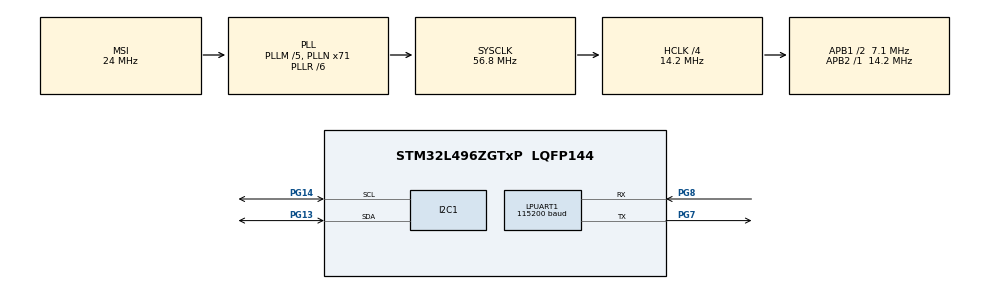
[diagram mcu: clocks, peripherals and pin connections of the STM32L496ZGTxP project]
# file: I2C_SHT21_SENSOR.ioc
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I2C1.Timing=0x00101A26
LPUART1.BaudRate=115200
LPUART1.WordLength=UART_WORDLENGTH_8B
Mcu.Family=STM32L4
Mcu.Name=STM32L496ZGTxP
Mcu.Package=LQFP144
NVIC.PriorityGroup=NVIC_PRIORITYGROUP_4
PG13.Mode=I2C
PG13.Signal=I2C1_SDA
PG14.Mode=I2C
PG14.Signal=I2C1_SCL
PG7.Mode=Asynchronous
PG7.Signal=LPUART1_TX
PG8.Mode=Asynchronous
PG8.Signal=LPUART1_RX
ProjectManager.HeapSize=0x200
ProjectManager.StackSize=0x400
ProjectManager.TargetToolchain=STM32CubeIDE
RCC.48MHZClocksFreq_Value=24000000
RCC.ADCFreq_Value=48000000
RCC.AHBCLKDivider=RCC_SYSCLK_DIV4
RCC.AHBFreq_Value=14200000
RCC.APB1CLKDivider=RCC_HCLK_DIV2
RCC.APB1Freq_Value=7100000
RCC.APB1TimFreq_Value=14200000
RCC.APB2Freq_Value=14200000
RCC.APB2TimFreq_Value=14200000
RCC.CortexFreq_Value=14200000
RCC.HCLKFreq_Value=14200000
RCC.HSE_VALUE=8000000
RCC.HSI48_VALUE=48000000
RCC.HSI_VALUE=16000000
RCC.MSIClockRange=RCC_MSIRANGE_9
RCC.MSI_VALUE=24000000
RCC.PLLM=5
RCC.PLLMUL=RCC_PLL_MUL9
RCC.PLLN=71
RCC.PLLR=RCC_PLLR_DIV6
RCC.PLLSAI1N=20
RCC.PRESCALERUSB=RCC_USBCLKSOURCE_PLL_DIV1_5
RCC.SYSCLKFreq_VALUE=56800000
RCC.SYSCLKSource=RCC_SYSCLKSOURCE_PLLCLK
RCC.SYSCLKSourceVirtual=RCC_SYSCLKSOURCE_PLLCLK
RCC.USBFreq_Value=48000000
RCC.VCOOutputFreq_Value=340800000
board=NUCLEO-L496ZG-P

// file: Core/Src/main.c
/* USER CODE BEGIN Header */
/**
  ******************************************************************************
  * @file           : main.c
  * @brief          : Main program body
  ******************************************************************************
  * @attention
  *
  * Copyright (c) 2023 STMicroelectronics.
  * All rights reserved.
  *
  * This software is licensed under terms that can be found in the LICENSE file
  * in the root directory of this software component.
  * If no LICENSE file comes with this software, it is provided AS-IS.
  *
  ******************************************************************************
  */
/* USER CODE END Header */
#include "main.h"

/* USER CODE BEGIN Includes */
#include<string.h>
#include "sht21_driver.h"
#include<stdio.h>
#include"stdio.h"
/* USER CODE END Includes */

I2C_HandleTypeDef hi2c1;

UART_HandleTypeDef hlpuart1;

/* USER CODE BEGIN PV */
uint8_t Buffer[25] = {0};
uint8_t Space[] = "-";
uint8_t StartMSG[] = "StartingI2C Scanning: \r\n";
uint8_t EndMSG[] = "Done! \r\n\r\n";
uint8_t i = 0, ret;
SHT21_t sht21_d;
/* USER CODE END PV */

void SystemClock_Config(void);
static void MX_GPIO_Init(void);
static void MX_LPUART1_UART_Init(void);
static void MX_I2C1_Init(void);

/* USER CODE BEGIN PFP */
//SHT2x_CalcTemp(&sht21_d)
void i2c_scanner(I2C_HandleTypeDef *i2c);
/* USER CODE END PFP */

int main(void)
{

  /* MCU Configuration--------------------------------------------------------*/

  /* Reset of all peripherals, Initializes the Flash interface and the Systick. */

	HAL_Init();

  /* Configure the system clock */
  SystemClock_Config();

  /* Initialize all configured peripherals */
  MX_GPIO_Init();
  MX_LPUART1_UART_Init();
  MX_I2C1_Init();
  /* USER CODE BEGIN 2 */
  i2c_scanner(&hi2c1);//call
  SHT2x_peripheral_config();
  uint8_t check = SHT2x_init(DISABLE_OTP | RH_12_TEM_14);//2

  if(check == SHT21_SUCCESS)//0==0
      printf("SHT21 Initialization succesfull\n");
  /* USER CODE END 2 */

  /* Infinite loop */
  while (1)
  {

    /* USER CODE BEGIN 3 */
      SHT2x_CalcTemp(&sht21_d);
      SHT2x_CalcHumid(&sht21_d);
      printf("Temp is %.3f and humidity %.3f\n", sht21_d.temperature, sht21_d.humidity);
    //  flag = 0;
HAL_Delay(1000);

  }
  /* USER CODE END 3 */
}

void SystemClock_Config(void)
{
  RCC_OscInitTypeDef RCC_OscInitStruct = {0};
  RCC_ClkInitTypeDef RCC_ClkInitStruct = {0};

  /** Configure the main internal regulator output voltage
  */
  if (HAL_PWREx_ControlVoltageScaling(PWR_REGULATOR_VOLTAGE_SCALE1) != HAL_OK)
  {
    Error_Handler();
  }

  /** Initializes the RCC Oscillators according to the specified parameters
  * in the RCC_OscInitTypeDef structure.
  */
  RCC_OscInitStruct.OscillatorType = RCC_OSCILLATORTYPE_MSI;
  RCC_OscInitStruct.MSIState = RCC_MSI_ON;
  RCC_OscInitStruct.MSICalibrationValue = 0;
  RCC_OscInitStruct.MSIClockRange = RCC_MSIRANGE_9;
  RCC_OscInitStruct.PLL.PLLState = RCC_PLL_ON;
  RCC_OscInitStruct.PLL.PLLSource = RCC_PLLSOURCE_MSI;
  RCC_OscInitStruct.PLL.PLLM = 5;
  RCC_OscInitStruct.PLL.PLLN = 71;
  RCC_OscInitStruct.PLL.PLLP = RCC_PLLP_DIV2;
  RCC_OscInitStruct.PLL.PLLQ = RCC_PLLQ_DIV2;
  RCC_OscInitStruct.PLL.PLLR = RCC_PLLR_DIV6;
  if (HAL_RCC_OscConfig(&RCC_OscInitStruct) != HAL_OK)
  {
    Error_Handler();
  }

  /** Initializes the CPU, AHB and APB buses clocks
  */
  RCC_ClkInitStruct.ClockType = RCC_CLOCKTYPE_HCLK|RCC_CLOCKTYPE_SYSCLK
                              |RCC_CLOCKTYPE_PCLK1|RCC_CLOCKTYPE_PCLK2;
  RCC_ClkInitStruct.SYSCLKSource = RCC_SYSCLKSOURCE_PLLCLK;
  RCC_ClkInitStruct.AHBCLKDivider = RCC_SYSCLK_DIV4;
  RCC_ClkInitStruct.APB1CLKDivider = RCC_HCLK_DIV2;
  RCC_ClkInitStruct.APB2CLKDivider = RCC_HCLK_DIV1;

  if (HAL_RCC_ClockConfig(&RCC_ClkInitStruct, FLASH_LATENCY_0) != HAL_OK)
  {
    Error_Handler();
  }
}

static void MX_I2C1_Init(void)
{

  hi2c1.Instance = I2C1;
  hi2c1.Init.Timing = 0x00101A26;
  hi2c1.Init.OwnAddress1 = 0;
  hi2c1.Init.AddressingMode = I2C_ADDRESSINGMODE_7BIT;
  hi2c1.Init.DualAddressMode = I2C_DUALADDRESS_DISABLE;
  hi2c1.Init.OwnAddress2 = 0;
  hi2c1.Init.OwnAddress2Masks = I2C_OA2_NOMASK;
  hi2c1.Init.GeneralCallMode = I2C_GENERALCALL_DISABLE;
  hi2c1.Init.NoStretchMode = I2C_NOSTRETCH_DISABLE;
  if (HAL_I2C_Init(&hi2c1) != HAL_OK)
  {
    Error_Handler();
  }

  /** Configure Analogue filter
  */
  if (HAL_I2CEx_ConfigAnalogFilter(&hi2c1, I2C_ANALOGFILTER_ENABLE) != HAL_OK)
  {
    Error_Handler();
  }

  /** Configure Digital filter
  */
  if (HAL_I2CEx_ConfigDigitalFilter(&hi2c1, 0) != HAL_OK)
  {
    Error_Handler();
  }

}

static void MX_LPUART1_UART_Init(void)
{

  hlpuart1.Instance = LPUART1;
  hlpuart1.Init.BaudRate = 115200;
  hlpuart1.Init.WordLength = UART_WORDLENGTH_8B;
  hlpuart1.Init.StopBits = UART_STOPBITS_1;
  hlpuart1.Init.Parity = UART_PARITY_NONE;
  hlpuart1.Init.Mode = UART_MODE_TX_RX;
  hlpuart1.Init.HwFlowCtl = UART_HWCONTROL_NONE;
  hlpuart1.Init.OneBitSampling = UART_ONE_BIT_SAMPLE_DISABLE;
  hlpuart1.AdvancedInit.AdvFeatureInit = UART_ADVFEATURE_NO_INIT;
  if (HAL_UART_Init(&hlpuart1) != HAL_OK)
  {
    Error_Handler();
  }

}

static void MX_GPIO_Init(void)
{

  /* GPIO Ports Clock Enable */
  __HAL_RCC_GPIOG_CLK_ENABLE();
  HAL_PWREx_EnableVddIO2();

}

/* USER CODE BEGIN 4 */
void i2c_scanner(I2C_HandleTypeDef *hi2c) //i2c scaner code for scanning
{
	/*-[ I2C Bus Scanning ]-*/
	printf("Start scanning i2c\r\n"); //using printf print the start message
	for (i = 1; i < 128; i++) //
			{
		ret = HAL_I2C_IsDeviceReady(hi2c, (uint16_t) (i << 1), 3, 5); //taking one variable for
		if (ret != HAL_OK) /* No ACK Received At That Address */
		{

			printf("-");
		} else if (ret == HAL_OK) //->hal_status, hal_ok,hal_bussy,hal_timeout_,al_error
				{
			printf("0x%X", i);

		}
	}

	printf("\nDone\n");

	/*--[ Scanning Done ]--*/

}

/* USER CODE END 4 */

void Error_Handler(void)
{
  __disable_irq();
  while (1)
  {
  }
}
